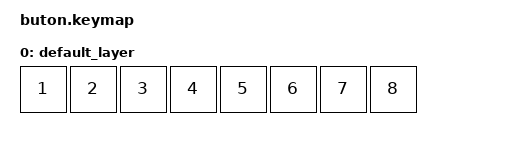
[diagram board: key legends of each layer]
#include <behaviors.dtsi>
#include <dt-bindings/zmk/keys.h>

/ {
    combos {
        compatible = "zmk,combos";
        
        // 1. ve 2. butona aynı anda basıldığında Studio kilidini açar
        combo_studio_unlock {
            timeout-ms = <50>;
            key-positions = <0 1>; // 0: Birinci tuş, 1: İkinci tuş
            bindings = <&studio_unlock>;
        };
    };

    keymap {
        compatible = "zmk,keymap";

        default_layer {
            bindings = <
                &kp N1 &kp N2 &kp N3 &kp N4 &kp N5 &kp N6 &kp N7 &kp N8
            >;
        };
    };
};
